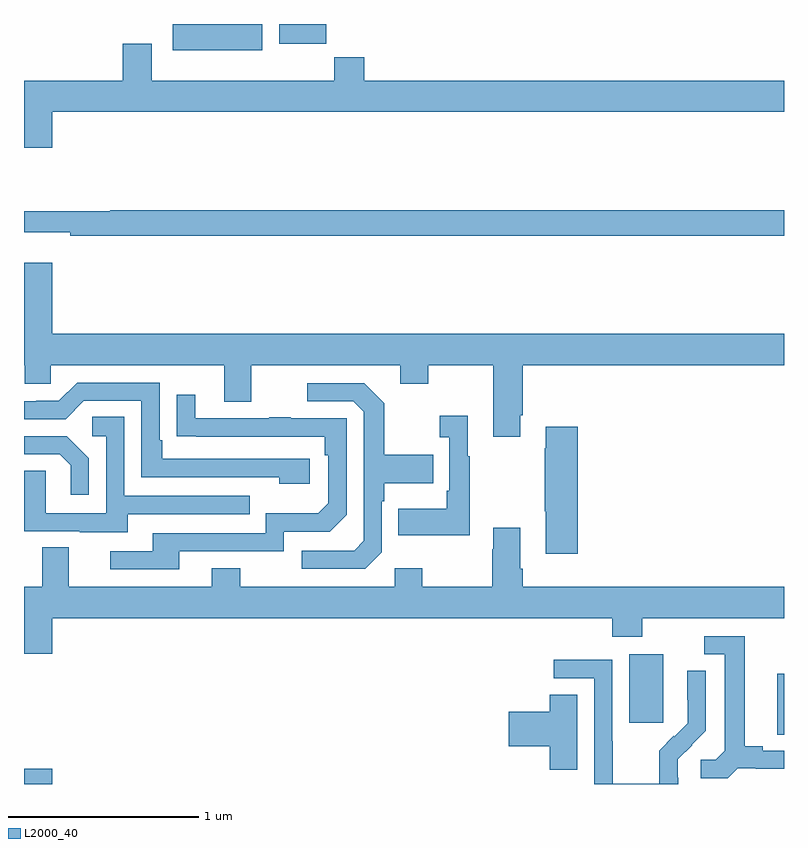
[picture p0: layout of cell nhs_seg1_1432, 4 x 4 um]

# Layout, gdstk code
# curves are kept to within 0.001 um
import gdstk
lib = gdstk.Library(unit=1e-6, precision=1e-09)
def R(c, l, rs):  # rectangles x0, y0, x1, y1
    for r in rs: c.add(gdstk.rectangle(r[:2], r[2:], *l))
def P(c, l, *ps):  # polygons
    for p in ps: c.add(gdstk.Polygon(p, *l))
L2000_40 = (2000, 40)

nhs_seg1_1432 = lib.new_cell('nhs_seg1_1432')
R(nhs_seg1_1432, L2000_40, [(189,544.199,189.148,544.279), (192.965,544.459,193,544.779), (192.185,544.521,192.364,544.882), (189.782,548.06,190.255,548.199), (190.343,548.094,190.592,548.199)])
P(nhs_seg1_1432, L2000_40, [(189.148,547.736),(193,547.736),(193,547.9),(190.79,547.9),(190.79,548.024),(190.633,548.024),(190.633,547.9),(189.673,547.9),(189.673,548.095),(189.521,548.095),(189.521,547.9),(189,547.9),(189,547.548),(189.148,547.548)],
  [(193,547.22),(189.455,547.22),(189.455,547.213),(189,547.213),(189,547.103),(189.244,547.103),(189.244,547.084),(193,547.084)],
  [(191.611,546.139),(191.624,546.139),(191.624,546.404),(193,546.404),(193,546.568),(189.148,546.568),(189.148,546.943),(189,546.943),(189,546.404),(189.003,546.404),(189.003,546.306),(189.141,546.306),(189.141,546.404),(190.055,546.404),(190.055,546.21),(190.195,546.21),(190.195,546.404),(190.979,546.404),(190.979,546.305),(191.127,546.305),(191.127,546.404),(191.471,546.404),(191.471,546.027),(191.611,546.027)],
  [(190.504,545.91),(189.727,545.91),(189.727,546.007),(189.714,546.007),(189.714,546.312),(189.279,546.312),(189.183,546.216),(189.065,546.216),(189.065,546.213),(189,546.213),(189,546.12),(189.219,546.12),(189.315,546.216),(189.618,546.216),(189.618,545.814),(190.343,545.814),(190.343,545.78),(190.504,545.78)],
  [(190.884,545.418),(190.884,545.687),(190.897,545.687),(190.897,545.783),(191.153,545.783),(191.153,545.931),(190.897,545.931),(190.897,546.203),(190.791,546.309),(190.491,546.309),(190.491,546.213),(190.734,546.213),(190.788,546.159),(190.788,545.478),(190.737,545.427),(190.461,545.427),(190.461,545.331),(190.797,545.331)],
  [(189.817,545.424),(190.368,545.424),(190.368,545.526),(190.608,545.526),(190.698,545.616),(190.698,546.123),(190.403,546.123),(190.403,546.128),(190.291,546.128),(190.291,546.123),(189.901,546.123),(189.901,546.247),(189.805,546.247),(189.805,546.028),(190.582,546.027),(190.582,545.93),(190.602,545.93),(190.602,545.676),(190.549,545.623),(190.272,545.623),(190.272,545.52),(189.677,545.52),(189.677,545.424),(189.453,545.424),(189.453,545.328),(189.817,545.328)],
  [(191.347,545.923),(191.335,545.923),(191.335,546.136),(191.187,546.136),(191.187,546.023),(191.238,546.023),(191.238,545.743),(191.226,545.743),(191.226,545.647),(190.969,545.647),(190.969,545.507),(191.347,545.507)],
  [(189.547,545.619),(190.187,545.619),(190.187,545.715),(189.528,545.715),(189.528,546.131),(189.36,546.131),(189.36,546.03),(189.432,546.03),(189.432,545.625),(189.114,545.625),(189.114,545.849),(189,545.849),(189,545.529),(189.293,545.529),(189.293,545.525),(189.547,545.525)],
  [(191.915,546.079),(191.747,546.079),(191.747,545.966),(191.74,545.966),(191.74,545.635),(191.747,545.635),(191.747,545.412),(191.915,545.412)],
  [(189.342,545.914),(189.226,546.03),(189,546.03),(189,545.934),(189.188,545.934),(189.245,545.877),(189.245,545.721),(189.342,545.721)],
  [(189.148,545.072),(192.095,545.072),(192.095,544.973),(192.255,544.973),(192.255,545.072),(193,545.072),(193,545.236),(191.624,545.236),(191.624,545.332),(191.611,545.332),(191.611,545.548),(191.471,545.548),(191.471,545.435),(191.464,545.435),(191.464,545.236),(191.097,545.236),(191.097,545.335),(190.95,545.335),(190.95,545.236),(190.137,545.236),(190.137,545.335),(189.989,545.335),(189.989,545.236),(189.235,545.236),(189.235,545.444),(189.095,545.444),(189.095,545.236),(189,545.236),(189,544.884),(189.148,544.884)],
  [(192.756,544.281),(192.85,544.281),(192.85,544.278),(193,544.278),(193,544.374),(192.889,544.374),(192.889,544.397),(192.793,544.397),(192.793,544.977),(192.579,544.977),(192.579,544.881),(192.689,544.881),(192.689,544.373),(192.642,544.326),(192.561,544.326),(192.561,544.229),(192.704,544.229)],
  [(192.444,544.233),(192.442,544.233),(192.442,544.33),(192.588,544.478),(192.588,544.796),(192.492,544.796),(192.492,544.642),(192.494,544.642),(192.494,544.52),(192.423,544.449),(192.42,544.452),(192.343,544.375),(192.343,544.201),(192.099,544.201),(192.099,544.424),(192.096,544.424),(192.096,544.854),(191.787,544.854),(191.787,544.755),(192,544.755),(192,544.199),(192.444,544.199)],
  [(191.911,544.67),(191.768,544.67),(191.768,544.58),(191.55,544.58),(191.55,544.397),(191.768,544.397),(191.768,544.273),(191.911,544.273)])

lib.write_gds('nhs_seg1_1432.gds')
